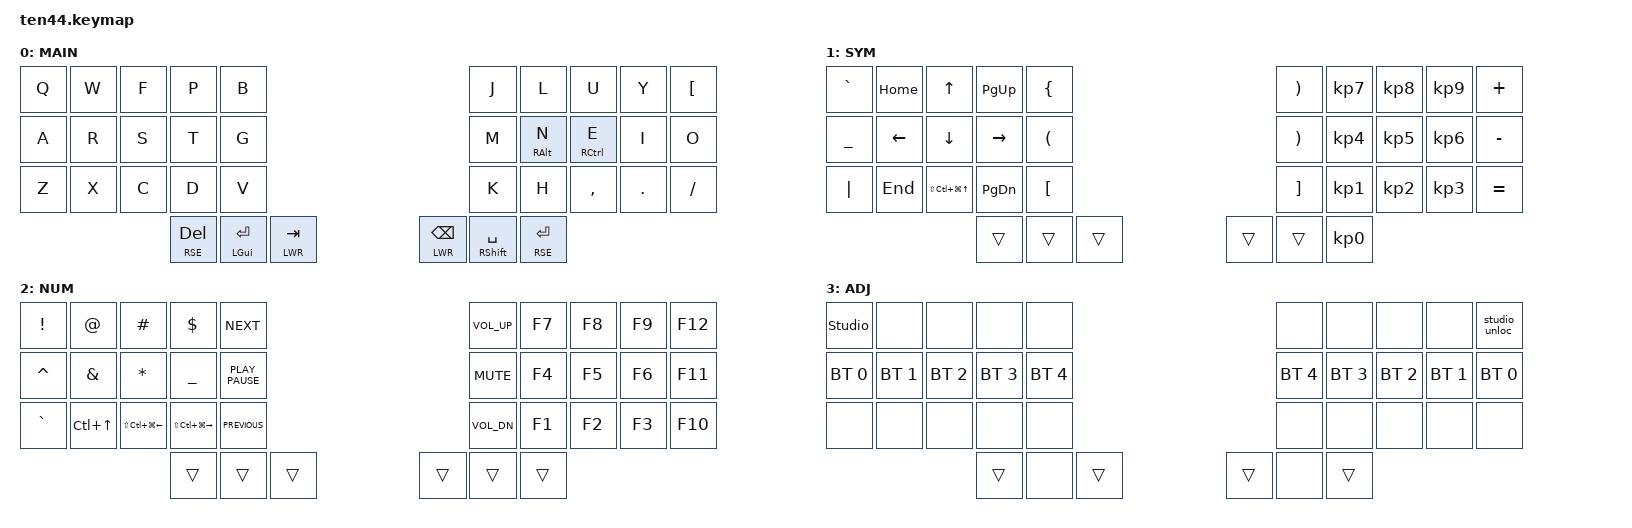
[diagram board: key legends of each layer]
/*
 * Copyright (c) 2020 The ZMK Contributors
 *
 * SPDX-License-Identifier: MIT
 */

#include <behaviors.dtsi>
#include <dt-bindings/zmk/bt.h>
#include <dt-bindings/zmk/keys.h>
#include <dt-bindings/zmk/outputs.h>

#define DEF 0
#define LWR 1
#define RSE 2
#define ADJ 3

&lt { quick-tap-ms = <200>; }; 
&mt { quick-tap-ms = <200>; };

/ {
    conditional_layers {
        compatible = "zmk,conditional-layers";

        tri_layer {
            if-layers = <LWR RSE>;
            then-layer = <ADJ>;
        };
    };

    keymap {
        compatible = "zmk,keymap";

        default_layer {
            display-name = "MAIN";

           bindings = <
&kp Q  &kp W           &kp F        &kp P               &kp B          &kp J              &kp L            &kp U          &kp Y               &kp LEFT_BRACKET
&kp A  &kp R           &kp S        &kp T               &kp G          &kp M              &mt RIGHT_ALT N  &mt RCTRL E    &kp I               &kp O
&kp Z  &kp X           &kp C        &kp D               &kp V          &kp K              &kp H            &kp COMMA      &kp DOT             &kp FSLH
                   &lt RSE DEL  &mt LEFT_GUI ENTER  &lt LWR TAB    &lt LWR BACKSPACE  &mt RSHFT SPACE  &lt RSE ENTER
                   >;
        };

        lower_layer {
            display-name = "SYM";

            bindings = <
&kp GRAVE       &kp HOME  &kp UP              &kp PAGE_UP    &kp LEFT_BRACE          &kp RIGHT_PARENTHESIS  &kp KP_N7        &kp KP_N8        &kp KP_NUMBER_9  &kp PLUS 
&kp UNDERSCORE  &kp LEFT  &kp DOWN            &kp RIGHT      &kp LEFT_PARENTHESIS    &kp RIGHT_PARENTHESIS  &kp KP_NUMBER_4  &kp KP_NUMBER_5  &kp KP_NUMBER_6  &kp MINUS
&kp PIPE        &kp END   &kp LS(LC(LG(UP)))  &kp PAGE_DOWN  &kp LEFT_BRACKET        &kp RIGHT_BRACKET      &kp KP_NUMBER_1  &kp KP_NUMBER_2  &kp KP_NUMBER_3  &kp EQUAL
                                  &trans              &trans         &trans                  &trans                 &trans           &kp KP_NUMBER_0
            >;
        };

        raise_layer {
            display-name = "NUM";

            bindings = <
&kp EXCLAMATION  &kp AT_SIGN    &kp HASH              &kp DOLLAR             &kp C_NEXT          &kp C_VOL_UP  &kp F7  &kp F8  &kp F9  &kp F12
&kp CARET        &kp AMPERSAND  &kp ASTERISK          &kp UNDERSCORE         &kp K_PLAY_PAUSE    &kp C_MUTE    &kp F4  &kp F5  &kp F6  &kp F11
&kp GRAVE        &kp LC(UP)     &kp LS(LC(LG(LEFT)))  &kp LS(LC(LG(RIGHT)))  &kp K_PREVIOUS      &kp C_VOL_DN  &kp F1  &kp F2  &kp F3  &kp F10
                                     &trans                &trans                 &trans              &trans        &trans  &trans
            >;
        };

        adjust_layer {
            display-name = "ADJ";

            bindings = <
&studio_unlock  &none         &none         &none         &none           &none         &none         &none         &none         &studio_unloc
&bt BT_SEL 0    &bt BT_SEL 1  &bt BT_SEL 2  &bt BT_SEL 3  &bt BT_SEL 4    &bt BT_SEL 4  &bt BT_SEL 3  &bt BT_SEL 2  &bt BT_SEL 1  &bt BT_SEL 0 
&none           &none         &none         &none         &none           &none         &none         &none         &none         &none        
                                            &trans        &none         &trans          &trans        &none         &trans
            >;
        };

        extra1 {
            status = "reserved";
        };

        extra2 {
            status = "reserved";
        };

        extra3 {
            status = "reserved";
        };
    };
};
